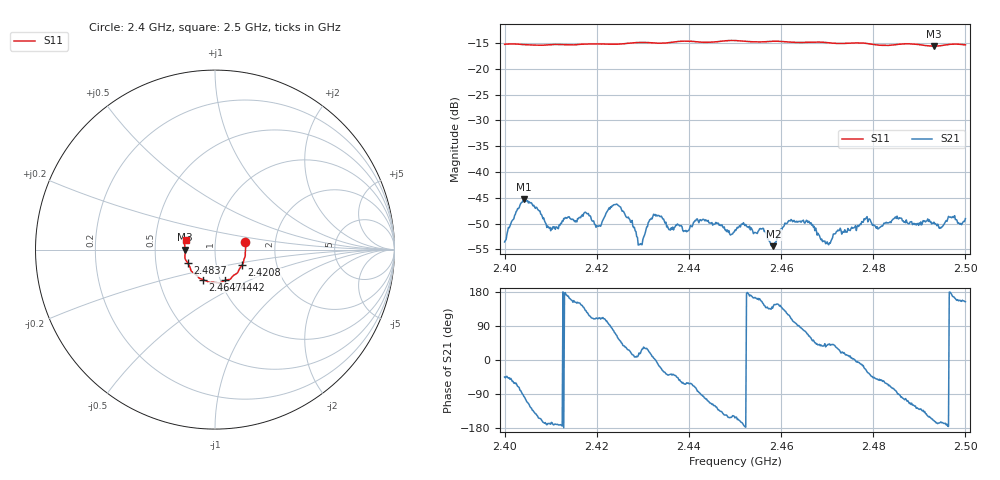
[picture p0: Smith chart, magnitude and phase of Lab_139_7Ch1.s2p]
# Hz S RI R 50
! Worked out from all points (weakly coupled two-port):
!   601 points, 2.4 GHz to 2.5 GHz, reference 50 ohm
!   highest |S21| = -45.24 dB at 2.4042 GHz (marker M1); lowest = -54.4 dB at 2.4583 GHz (marker M2)
!   lowest |S11| = -15.6 dB at 2.4932 GHz (marker M3), VSWR 1.40, Z = 35.8 - j0.0842 ohm
!   |S11| at or under -10 dB: start of sweep to end of sweep
!   S12 and S22 are empty: the file has one direction only
!   S11 on the Smith chart (normalised r, x): 2.4 GHz: 1.40, +0.12; 2.4208 GHz: 1.33, -0.24; 2.4442 GHz: 1.05, -0.37; 2.4647 GHz: 0.83, -0.29; 2.4837 GHz: 0.73, -0.11; 2.5 GHz: 0.72, +0.08
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2.4e9  0.1677 0.0411  0.00149 -0.00148  0 0  0 0
2.404167e9  0.1706 0.016  -0.000561 -0.00544  0 0  0 0
2.409833e9  0.1689 -0.027  -0.00284 -0.000651  0 0  0 0
2.416667e9  0.1589 -0.0682  -0.00308 0.00217  0 0  0 0
2.420833e9  0.1507 -0.0872  -0.000918 0.00284  0 0  0 0
2.424667e9  0.1372 -0.106  0.00263 0.00396  0 0  0 0
2.4295e9  0.126 -0.1288  0.00192 0.000644  0 0  0 0
2.433333e9  0.108 -0.1401  0.00371 -0.000819  0 0  0 0
2.439167e9  0.0845 -0.165  0.00118 -0.00242  0 0  0 0
2.444167e9  0.0569 -0.1713  -0.00106 -0.00323  0 0  0 0
2.45e9  0.0246 -0.1864  -0.00245 -0.00125  0 0  0 0
2.455833e9  -0.0129 -0.182  -0.00254 0.00122  0 0  0 0
2.458333e9  -0.0274 -0.1829  -0.00152 0.00116  0 0  0 0
2.461333e9  -0.0428 -0.1772  -0.0017 0.00271  0 0  0 0
2.464667e9  -0.0672 -0.1671  0.000525 0.00333  0 0  0 0
2.466667e9  -0.08 -0.1627  0.00183 0.00244  0 0  0 0
2.470167e9  -0.0937 -0.1526  0.00151 0.00133  0 0  0 0
2.478167e9  -0.135 -0.1144  0.00318 -0.00135  0 0  0 0
2.483333e9  -0.1504 -0.0762  0.00121 -0.00297  0 0  0 0
2.483667e9  -0.1523 -0.0735  0.00119 -0.00307  0 0  0 0
2.493167e9  -0.1659 -0.00114  -0.00307 -0.00113  0 0  0 0
2.5e9  -0.1625 0.0527  -0.00318 0.00155  0 0  0 0
